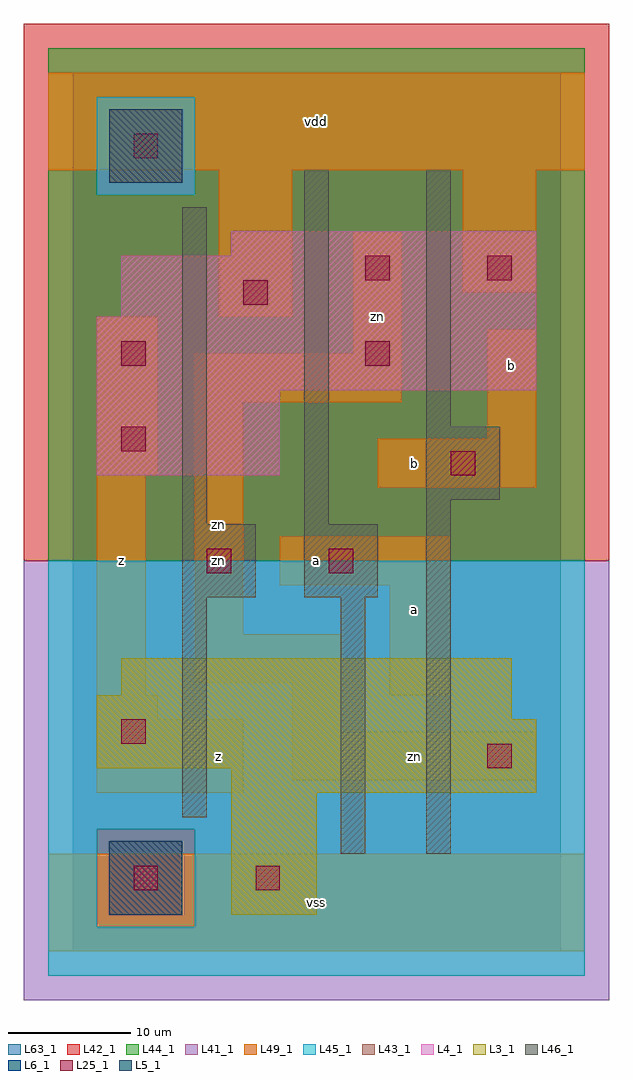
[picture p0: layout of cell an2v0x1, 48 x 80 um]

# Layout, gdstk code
import gdstk
lib = gdstk.Library(unit=1e-6, precision=1e-09)
def R(c, l, rs):  # rectangles x0, y0, x1, y1
    for r in rs: c.add(gdstk.rectangle(r[:2], r[2:], *l))
L3_1 = (3, 1)
L4_1 = (4, 1)
L5_1 = (5, 1)
L6_1 = (6, 1)
L25_1 = (25, 1)
L41_1 = (41, 1)
L42_1 = (42, 1)
L43_1 = (43, 1)
L44_1 = (44, 1)
L45_1 = (45, 1)
L46_1 = (46, 1)
L49_1 = (49, 1)
L63_1 = (63, 1)

an2v0x1 = lib.new_cell('an2v0x1')
R(an2v0x1, L3_1, [(13,3,20,13), (13,13,38,15), (2,15,38,19), (2,19,36,21), (4,21,36,24)])
R(an2v0x1, L4_1, [(2,39,17,46), (2,46,38,52), (4,52,38,57), (13,57,38,59)])
R(an2v0x1, L5_1, [(3,63,9,69)])
R(an2v0x1, L6_1, [(3,3,9,9), (3,3,9,9)])
R(an2v0x1, L25_1, [(5,5,7,7), (15,5,17,7), (34,15,36,17), (4,17,6,19), (11,31,13,33), (21,31,23,33), (31,39,33,41), (4,41,6,43), (4,48,6,50), (24,48,26,50), (14,53,16,55), (24,55,26,57), (34,55,36,57), (5,65,7,67)])
R(an2v0x1, L41_1, [(-4,-4,44,32)])
R(an2v0x1, L42_1, [(-4,32,44,76)])
R(an2v0x1, L43_1, [(3,3,9,9), (13,3,20,13), (13,13,38,15), (2,15,38,19), (2,19,36,21), (4,21,36,24), (2,39,17,46), (2,46,38,52), (4,52,38,57), (13,57,38,59), (3,63,9,69)])
R(an2v0x1, L44_1, [(2,2,10,10), (-2,32,42,62), (-2,62,2,70), (10,62,42,70), (-2,70,42,74)])
R(an2v0x1, L45_1, [(-2,-2,42,2), (-2,2,2,10), (10,2,42,10), (-2,10,42,32), (2,62,10,70)])
R(an2v0x1, L46_1, [(22,8,24,29), (29,8,31,37), (9,11,11,29), (9,29,15,35), (19,29,25,35), (9,35,11,61), (19,35,21,64), (29,37,35,43), (29,43,31,64)])
R(an2v0x1, L49_1, [(-2,0,42,8), (2,13,14,19), (18,14,38,18), (18,18,22,22), (2,19,7,21), (2,21,6,39), (26,21,31,30), (10,22,22,26), (10,26,14,45), (17,30,31,34), (25,38,38,42), (2,39,7,52), (34,42,38,51), (10,45,27,49), (23,49,27,59), (12,52,18,64), (32,54,38,64), (-2,64,42,72)])
R(an2v0x1, L63_1, [(0,0,40,72)])
an2v0x1.add(gdstk.Label('zn', (12,32), layer=49, texttype=1))
an2v0x1.add(gdstk.Label('z', (4,32), layer=49, texttype=1))
an2v0x1.add(gdstk.Label('z', (12,16), layer=49, texttype=1))
an2v0x1.add(gdstk.Label('zn', (12,35), layer=49, texttype=1))
an2v0x1.add(gdstk.Label('vss', (20,4), layer=49, texttype=1))
an2v0x1.add(gdstk.Label('a', (20,32), layer=49, texttype=1))
an2v0x1.add(gdstk.Label('a', (28,28), layer=49, texttype=1))
an2v0x1.add(gdstk.Label('b', (28,40), layer=49, texttype=1))
an2v0x1.add(gdstk.Label('zn', (25,52), layer=49, texttype=1))
an2v0x1.add(gdstk.Label('vdd', (20,68), layer=49, texttype=1))
an2v0x1.add(gdstk.Label('zn', (28,16), layer=49, texttype=1))
an2v0x1.add(gdstk.Label('b', (36,48), layer=49, texttype=1))

lib.write_gds('an2v0x1.gds')
